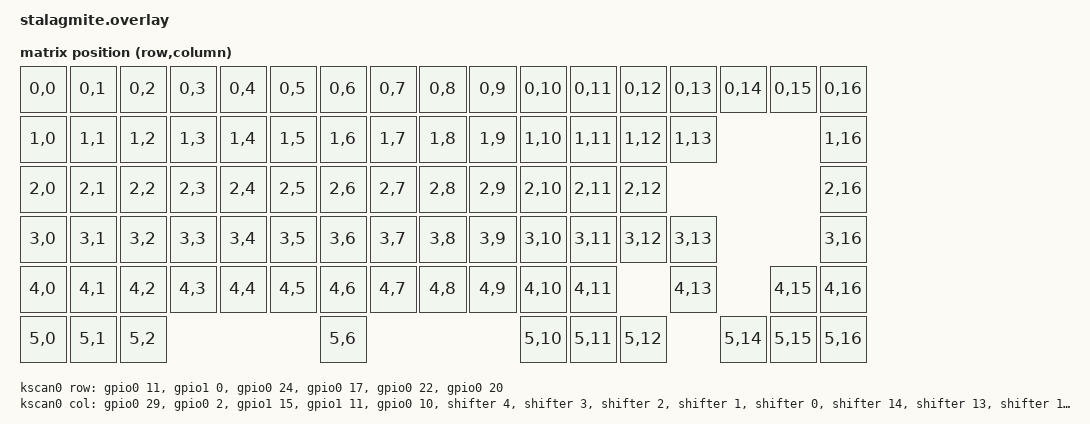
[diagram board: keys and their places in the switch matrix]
#include <dt-bindings/zmk/matrix_transform.h>

/* 1. Remap SPI1 pins to P1.04 (SCK) and P1.07 (MOSI) using pinctrl */
&pinctrl {
    spi1_default: spi1_default {
        group1 {
            psels = <NRF_PSEL(SPIM_SCK, 1, 4)>,   /* 104 -> Port 1, Pin 4 (SRCLK) */
                    <NRF_PSEL(SPIM_MOSI, 1, 7)>;  /* 107 -> Port 1, Pin 7 (SER / Data) */
        };
    };

    spi1_sleep: spi1_sleep {
        group1 {
            psels = <NRF_PSEL(SPIM_SCK, 1, 4)>,
                    <NRF_PSEL(SPIM_MOSI, 1, 7)>;
            low-power-enable;
        };
    };
};

/* 2. Configure the SPI bus with your custom pinctrl states and Chip Select pin */
&spi1 {
    status = "okay";
    pinctrl-0 = <&spi1_default>;
    pinctrl-1 = <&spi1_sleep>;
    pinctrl-names = "default", "sleep";

    /* 106 -> Port 1, Pin 6 (RCLK / Latch) */
    cs-gpios = <&gpio1 6 GPIO_ACTIVE_HIGH>;

    shifter: gpio595@0 {
        compatible = "zmk,gpio-595";
        status = "okay";
        reg = <0>;

        gpio-controller;
        #gpio-cells = <2>;

        ngpios = <16>; /* 2 daisy-chained 74HC595s */
        spi-max-frequency = <2000000>;
    };
};

/ {
    chosen {
        zmk,kscan = &kscan0;
        zmk,matrix-transform = &default_transform;
    };

    default_transform: matrix_transform {
        compatible = "zmk,matrix-transform";
        columns = <17>;
        rows = <6>;

        map = <
            /* Row 0 */
            RC(0,0) RC(0,1) RC(0,2) RC(0,3) RC(0,4) RC(0,5) RC(0,6) RC(0,7) RC(0,8) RC(0,9) RC(0,10) RC(0,11) RC(0,12) RC(0,13) RC(0,14) RC(0,15) RC(0,16)
            /* Row 1 */
            RC(1,0) RC(1,1) RC(1,2) RC(1,3) RC(1,4) RC(1,5) RC(1,6) RC(1,7) RC(1,8) RC(1,9) RC(1,10) RC(1,11) RC(1,12) RC(1,13)                   RC(1,16)
            /* Row 2 */
            RC(2,0) RC(2,1) RC(2,2) RC(2,3) RC(2,4) RC(2,5) RC(2,6) RC(2,7) RC(2,8) RC(2,9) RC(2,10) RC(2,11) RC(2,12)                            RC(2,16)
            /* Row 3 */
            RC(3,0) RC(3,1) RC(3,2) RC(3,3) RC(3,4) RC(3,5) RC(3,6) RC(3,7) RC(3,8) RC(3,9) RC(3,10) RC(3,11) RC(3,12) RC(3,13)                   RC(3,16)
            /* Row 4 */
            RC(4,0) RC(4,1) RC(4,2) RC(4,3) RC(4,4) RC(4,5) RC(4,6) RC(4,7) RC(4,8) RC(4,9) RC(4,10) RC(4,11)          RC(4,13)          RC(4,15) RC(4,16)
            /* Row 5 */
            RC(5,0) RC(5,1) RC(5,2)                         RC(5,6)                         RC(5,10) RC(5,11) RC(5,12)          RC(5,14) RC(5,15) RC(5,16)
        >;
    };

    kscan0: kscan_0 {
        compatible = "zmk,kscan-gpio-matrix";
        wakeup-source;
        diode-direction = "col2row";

        row-gpios
            = <&gpio0 11 (GPIO_ACTIVE_HIGH | GPIO_PULL_DOWN)>
            , <&gpio1 0 (GPIO_ACTIVE_HIGH | GPIO_PULL_DOWN)>
            , <&gpio0 24 (GPIO_ACTIVE_HIGH | GPIO_PULL_DOWN)>
            , <&gpio0 17 (GPIO_ACTIVE_HIGH | GPIO_PULL_DOWN)>
            , <&gpio0 22 (GPIO_ACTIVE_HIGH | GPIO_PULL_DOWN)>
            , <&gpio0 20 (GPIO_ACTIVE_HIGH | GPIO_PULL_DOWN)>
        ;

        // Use the SPI shifter outputs (0 through 15)
        col-gpios
            = <&gpio0 29 (GPIO_ACTIVE_HIGH)>
            , <&gpio0 2  (GPIO_ACTIVE_HIGH)>
            , <&gpio1 15 (GPIO_ACTIVE_HIGH)>
            , <&gpio1 11 (GPIO_ACTIVE_HIGH)>
            , <&gpio0 10 (GPIO_ACTIVE_HIGH)>
            , <&shifter 4 (GPIO_ACTIVE_HIGH)>
            , <&shifter 3 (GPIO_ACTIVE_HIGH)>
            , <&shifter 2 (GPIO_ACTIVE_HIGH)>
            , <&shifter 1 (GPIO_ACTIVE_HIGH)>
            , <&shifter 0 (GPIO_ACTIVE_HIGH)>
            , <&shifter 14 (GPIO_ACTIVE_HIGH)>
            , <&shifter 13 (GPIO_ACTIVE_HIGH)>
            , <&shifter 12 (GPIO_ACTIVE_HIGH)>
            , <&shifter 11 (GPIO_ACTIVE_HIGH)>
            , <&shifter 10 (GPIO_ACTIVE_HIGH)>
            , <&shifter 9 (GPIO_ACTIVE_HIGH)>
            , <&shifter 8 (GPIO_ACTIVE_HIGH)>
    ;
    };
};
